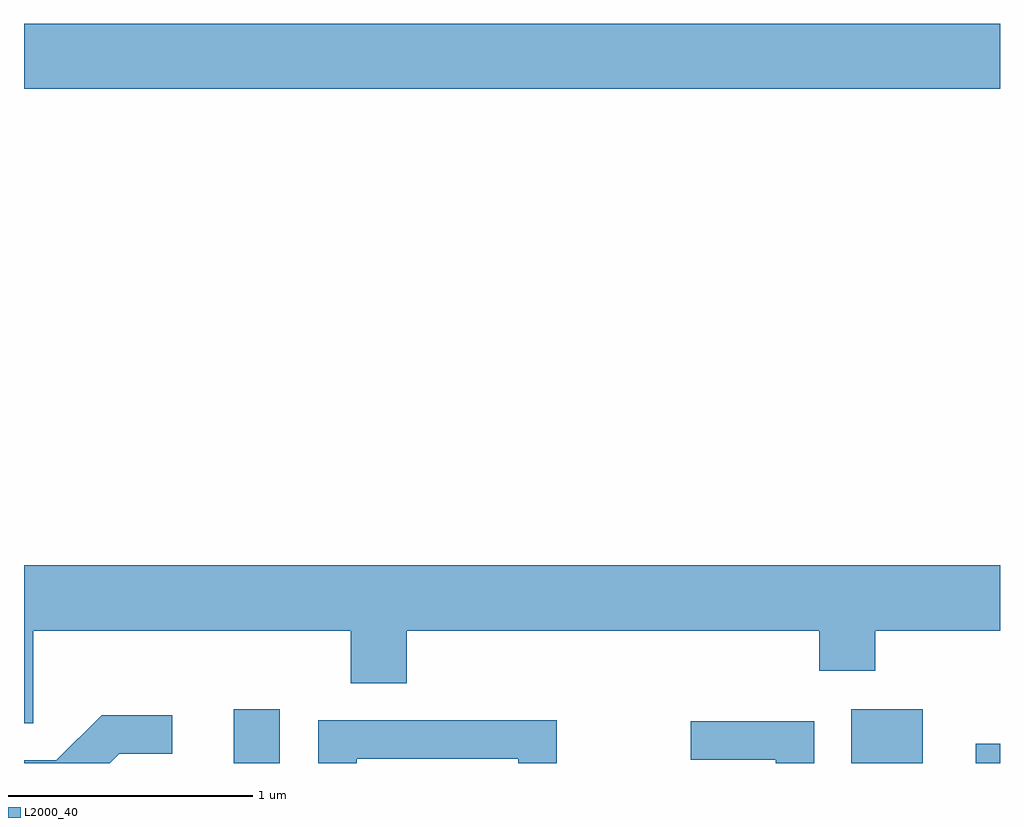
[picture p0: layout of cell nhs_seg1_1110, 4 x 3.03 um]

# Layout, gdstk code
import gdstk
lib = gdstk.Library(unit=1e-6, precision=1e-09)
def R(c, l, rs):  # rectangles x0, y0, x1, y1
    for r in rs: c.add(gdstk.rectangle(r[:2], r[2:], *l))
def P(c, l, *ps):  # polygons
    for p in ps: c.add(gdstk.Polygon(p, *l))
L2000_40 = (2000, 40)

nhs_seg1_1110 = lib.new_cell('nhs_seg1_1110')
R(nhs_seg1_1110, L2000_40, [(220.471,885.712,220.659,885.934), (223.001,885.712,223.294,885.934), (223.511,885.712,223.611,885.793), (219.611,888.476,223.611,888.744)])
P(nhs_seg1_1110, L2000_40, [(219.649,886.256),(220.951,886.256),(220.951,886.041),(221.179,886.041),(221.179,886.256),(222.871,886.256),(222.871,886.091),(223.099,886.091),(223.099,886.256),(223.611,886.256),(223.611,886.524),(219.611,886.524),(219.611,885.876),(219.649,885.876)],
  [(220.002,885.751),(220.218,885.751),(220.218,885.909),(219.929,885.909),(219.744,885.724),(219.611,885.724),(219.611,885.712),(219.963,885.712)],
  [(220.974,885.731),(221.636,885.731),(221.636,885.712),(221.794,885.712),(221.794,885.889),(220.816,885.889),(220.816,885.712),(220.974,885.712)],
  [(222.849,885.884),(222.343,885.884),(222.343,885.726),(222.691,885.726),(222.691,885.712),(222.849,885.712)])

lib.write_gds('nhs_seg1_1110.gds')
